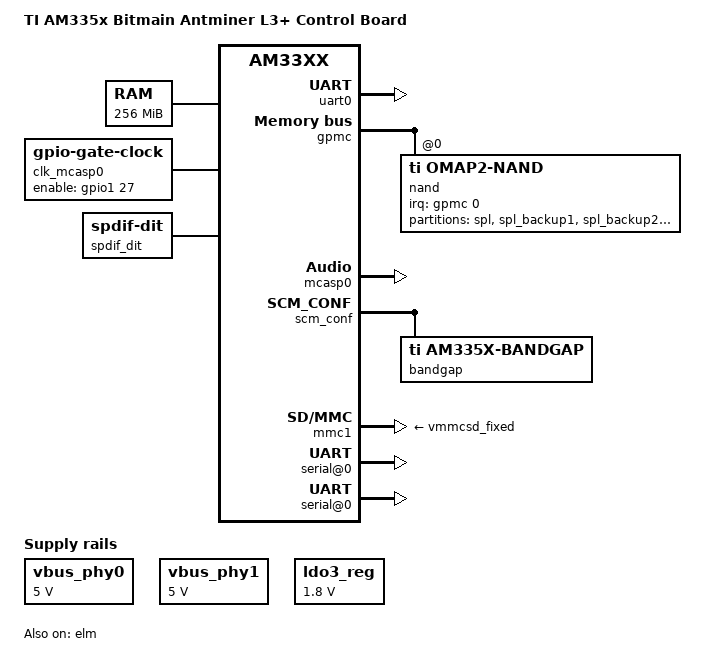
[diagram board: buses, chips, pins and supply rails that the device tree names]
/dts-v1/;

#include "am33xx.dtsi"
#include "am335x-bone-common.dtsi"

/ {
    model = "TI AM335x Bitmain Antminer L3+ Control Board";
    compatible = "ti,am335x-bone-black", "ti,am335x-bone", "ti,am33xx";

    memory@80000000 {
	device_type = "memory";
	reg = <0x80000000 0x10000000>;	/* 256 MB */
    };

    chosen {
	stdout-path = &uart0;
    };
};

/* ============ NAND (GPMC + ELM, BCH8 HW ECC) ============ */

&am33xx_pinmux {
    nand_flash_x8_pins: nand_flash_x8_pins {
	pinctrl-single,pins = <
	    0x000 0x30 0x004 0x30 0x008 0x30 0x00c 0x30
	    0x010 0x30 0x014 0x30 0x018 0x30 0x01c 0x30
	    0x070 0x30 0x074 0x37 0x07c 0x08 0x090 0x08
	    0x094 0x08 0x098 0x08 0x09c 0x08
	>;
    };

    mcasp0_pins: mcasp0_pins {
	pinctrl-single,pins = <
	    0x1ac 0x30 0x19c 0x02 0x194 0x10 0x190 0x00 0x6c 0x07
	>;
    };

    uart1_pins: uart1_pins {
        pinctrl-single,pins = <
            0x180 0x30    /* P9_26: uart1_rxd | MODE0 | INPUT_PULLUP */
            0x184 0x00    /* P9_24: uart1_txd | MODE0 | OUTPUT */
        >;
    };

    uart2_pins: uart2_pins {
        pinctrl-single,pins = <
            0x150 0x31    /* P9_22: uart2_rxd | MODE1 | INPUT_PULLDOWN */
            0x154 0x01    /* P9_21: uart2_txd | MODE1 | OUTPUT */
        >;
    };

	timer7_pins: timer7_pins {
	pinctrl-single,pins = <
            0x1B4 0x24    /* P9_41: timer7 | MODE4 | INPUT | PULLDOWN */
        >;
    };
};

&uart0 {
    status = "okay";
};

&elm {
    status = "okay";
};

&gpmc {
    status = "okay";
    pinctrl-names = "default";
    pinctrl-0 = <&nand_flash_x8_pins>;
    ranges = <0 0 0x08000000 0x1000000>;	/* CS0: 16MB IO window */
    #address-cells = <2>;
    #size-cells = <1>;

    nand@0,0 {
	compatible = "ti,omap2-nand";
	reg = <0 0 4>;
	interrupt-parent = <&gpmc>;
	interrupts = <0 0>, <1 0>;
	nand-bus-width = <8>;
	ti,nand-ecc-opt = "bch8";
	ti,elm-id = <&elm>;

	gpmc,device-width = <1>;
	gpmc,sync-clk-ps = <0>;
	gpmc,cs-on-ns = <0>;
	gpmc,cs-rd-off-ns = <280>;
	gpmc,cs-wr-off-ns = <280>;
	gpmc,adv-on-ns = <50>;
	gpmc,adv-rd-off-ns = <280>;
	gpmc,adv-wr-off-ns = <280>;
	gpmc,we-on-ns = <50>;
	gpmc,we-off-ns = <200>;
	gpmc,oe-on-ns = <50>;
	gpmc,oe-off-ns = <150>;
	gpmc,access-ns = <200>;
	gpmc,rd-cycle-ns = <300>;
	gpmc,wr-cycle-ns = <300>;
	gpmc,wait-on-read = "true";
	gpmc,wait-on-write = "true";
	gpmc,wait-monitoring-ns = <0>;
	gpmc,bus-turnaround-ns = <0>;
	gpmc,cycle2cycle-delay-ns = <120>;
	gpmc,cycle2cycle-samecsen = "true";
	gpmc,clk-activation-ns = <0>;
	gpmc,wr-access-ns = <40>;
	gpmc,wr-data-mux-bus-ns = <0>;

	#address-cells = <1>;
	#size-cells = <1>;

	partitions {
	    compatible = "fixed-partitions";
	    #address-cells = <1>;
	    #size-cells = <1>;

	    partition@0        { label = "spl";         reg = <0x00000000 0x00020000>; };
	    partition@20000    { label = "spl_backup1"; reg = <0x00020000 0x00020000>; };
	    partition@40000    { label = "spl_backup2"; reg = <0x00040000 0x00020000>; };
	    partition@60000    { label = "spl_backup3"; reg = <0x00060000 0x00020000>; };
	    partition@80000    { label = "u-boot";      reg = <0x00080000 0x001c0000>; };
	    partition@240000   { label = "bootenv";     reg = <0x00240000 0x00020000>; };
	    partition@260000   { label = "fdt";         reg = <0x00260000 0x00020000>; };
	    partition@280000   { label = "kernel";      reg = <0x00280000 0x00580000>; };
	    partition@800000   { label = "initramfs";   reg = <0x00800000 0x01400000>; };
	    partition@1c00000  { label = "ubi";         reg = <0x01c00000 0x0e400000>; };
	};
    };
};

/* ============ Отключение отсутствующего железа ============ */
&usb0 { status = "disabled"; };

&baseboard_eeprom { status = "disabled"; };
&cape_eeprom0 { status = "disabled"; };
&cape_eeprom1 { status = "disabled"; };
&cape_eeprom2 { status = "disabled"; };
&cape_eeprom3 { status = "disabled"; };

/* ============ User LEDs (4 синих) ============ */
&{/leds/led2} {
    label = "l3plus:blue:usr0";
    linux,default-trigger = "default-on";
    panic-indicator;
};

&{/leds/led3} {
    label = "l3plus:blue:usr1";
    linux,default-trigger = "none";
};

&{/leds/led4} {
    label = "l3plus:blue:usr2";
    linux,default-trigger = "none";
};

/* индикация захвата на usr3: */
&{/leds/led5} {
    label = "l3plus:blue:usr3";
    linux,default-trigger = "pps-dmtimer";
};

/* ============ Audio: McASP I2S → внешний DAC (spdif-dit заглушка) ============ */

&mcasp0 {
    status = "okay";
    pinctrl-names = "default";
    pinctrl-0 = <&mcasp0_pins>;
    op-mode = <0>;			/* MCASP_IIS_MODE */
    tdm-slots = <2>;
    serial-dir = <0 0 1 0>;		/* 4 сериализатора: 3-й = TX */
    #sound-dai-cells = <0>;
};

/ {
    clk_mcasp0_fixed: clk_mcasp0_fixed {
	#clock-cells = <0>;
	compatible = "fixed-clock";
	clock-frequency = <24576000>;
    };

    clk_mcasp0: clk_mcasp0 {
	#clock-cells = <0>;
	compatible = "gpio-gate-clock";
	clocks = <&clk_mcasp0_fixed>;
	enable-gpios = <&gpio1 27 0>;	/* gpio1_27 */
    };

    spdif_dit: dit-codec {
	compatible = "linux,spdif-dit";
	#sound-dai-cells = <0>;
    };

    sound {
	compatible = "simple-audio-card";
	simple-audio-card,name = "TI BeagleBone Black";
	simple-audio-card,format = "i2s";
	simple-audio-card,bitclock-master = <&sound_cpu>;
	simple-audio-card,frame-master = <&sound_cpu>;

	sound_cpu: simple-audio-card,cpu {
	    sound-dai = <&mcasp0>;
	    clocks = <&clk_mcasp0>;
	};

	simple-audio-card,codec {
	    sound-dai = <&spdif_dit>;
	};
    };
};

/ {
    vbus_phy0: vbus_phy0 {
	compatible = "regulator-fixed";
	regulator-name = "vbus_phy0";
	regulator-min-microvolt = <5000000>;
	regulator-max-microvolt = <5000000>;
	regulator-always-on;
	regulator-boot-on;
    };

    vbus_phy1: vbus_phy1 {
	compatible = "regulator-fixed";
	regulator-name = "vbus_phy1";
	regulator-min-microvolt = <5000000>;
	regulator-max-microvolt = <5000000>;
	regulator-always-on;
	regulator-boot-on;
    };
};

&usb0_phy {
    vcc-supply = <&ldo4_reg>;
    vbus-supply = <&vbus_phy0>;
};

&usb1_phy {
    vcc-supply = <&ldo4_reg>;
    vbus-supply = <&vbus_phy1>;
};

/* ============ Thermal (bandgap) + PMIC ldo3 + RTC power-off ============ */

&scm_conf {
    bandgap: bandgap@448 {
	compatible = "ti,am335x-bandgap";
	reg = <0x448 0x8>;
    };
};

&ldo3_reg {
    regulator-name = "vdd_1v8";
    regulator-min-microvolt = <1800000>;
    regulator-max-microvolt = <1800000>;
    regulator-always-on;
};

&rtc {
    system-power-controller;
};

/* GFX/SGX (@56000000) — PowerVR, на плате нет; в v8 удалён. resets=prm_gfx виснет */
&{/ocp/target-module@56000000} {
    status = "disabled";
};

/* PRU-ICSS — физически нет в AM3352BZCZ100 */
&pruss_tm {
    status = "disabled";
};

/* TSCADC — ADC на плате не разведён (в v8 disabled) */
&tscadc {
    status = "disabled";
};

&tps {
    regulators {
	compatible = "ti,tps65217-pmic";
    };

    backlight {
	compatible = "ti,tps65217-bl";
	status = "disabled";
    };

    pwrbutton {
	status = "okay";
    };
};

/* ============ Фиксы по dmesg: poweroff, SD debounce, vqmmc ============ */

/* #7: без этого PMIC не регистрирует pm_power_off → panic при poweroff */
&tps {
    ti,pmic-shutdown-controller;
};

/* #4 debounce -22 + #5 vqmmc dummy: как в v8 */
&mmc1 {
    cd-debounce-delay-ms = <0>;
    vmmc-supply = <&vmmcsd_fixed>;
    vqmmc-supply = <&vmmcsd_fixed>;
};

/* rtc: убрать ext-clk (внешнего 32k кристалла на L3+ нет; как в v8) */
&rtc {
    /delete-property/ clocks;
    /delete-property/ clock-names;
};

&{/ocp/interconnect@48000000/segment@0/target-module@22000} {
    status = "okay";
};

&{/ocp/interconnect@48000000/segment@0/target-module@22000/serial@0} {
    status = "okay";
    clock-frequency = <48000000>;
    pinctrl-names = "default";
    pinctrl-0 = <&uart1_pins>;
};

&{/ocp/interconnect@48000000/segment@0/target-module@24000} {
    status = "okay";
};

&{/ocp/interconnect@48000000/segment@0/target-module@24000/serial@0} {
    status = "okay";
    clock-frequency = <48000000>;
    pinctrl-names = "default";
    pinctrl-0 = <&uart2_pins>;
};

/ {
    pps_timer: pps-timer {
	compatible = "pps-dmtimer";
	timer = <&timer7>;
	pinctrl-names = "default";
	pinctrl-0 = <&timer7_pins>;
	status = "okay";
    };
};
